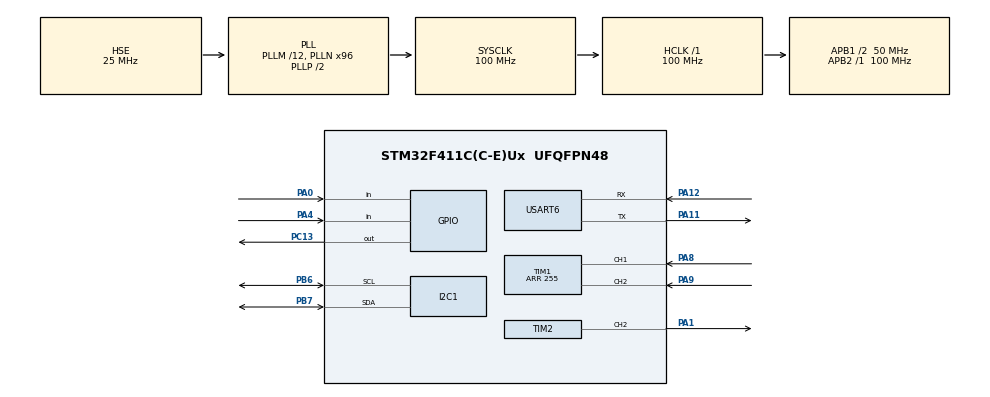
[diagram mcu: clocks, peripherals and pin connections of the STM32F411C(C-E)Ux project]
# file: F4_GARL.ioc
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Dma.Request0=TIM2_CH2/CH4
Dma.TIM2_CH2/CH4.0.Direction=DMA_MEMORY_TO_PERIPH
Dma.TIM2_CH2/CH4.0.FIFOMode=DMA_FIFOMODE_DISABLE
Dma.TIM2_CH2/CH4.0.Instance=DMA1_Stream6
Dma.TIM2_CH2/CH4.0.MemDataAlignment=DMA_MDATAALIGN_WORD
Dma.TIM2_CH2/CH4.0.MemInc=DMA_MINC_ENABLE
Dma.TIM2_CH2/CH4.0.Mode=DMA_CIRCULAR
Dma.TIM2_CH2/CH4.0.PeriphDataAlignment=DMA_PDATAALIGN_WORD
Dma.TIM2_CH2/CH4.0.PeriphInc=DMA_PINC_DISABLE
Dma.TIM2_CH2/CH4.0.Priority=DMA_PRIORITY_LOW
I2C1.I2C_Mode=I2C_Fast
Mcu.Family=STM32F4
Mcu.Name=STM32F411C(C-E)Ux
Mcu.Package=UFQFPN48
NVIC.DMA1_Stream6_IRQn=true\:0\:0\:false\:false\:true\:false\:true
NVIC.I2C1_EV_IRQn=true\:0\:0\:false\:false\:true\:true\:true
NVIC.PriorityGroup=NVIC_PRIORITYGROUP_4
NVIC.USART6_IRQn=true\:0\:0\:false\:false\:true\:true\:true
PA0-WKUP.Signal=GPIO_Input
PA1.Signal=S_TIM2_CH2
PA11.Mode=Asynchronous
PA11.Signal=USART6_TX
PA12.Mode=Asynchronous
PA12.Signal=USART6_RX
PA13.Mode=Serial_Wire
PA13.Signal=SYS_JTMS-SWDIO
PA14.Mode=Serial_Wire
PA14.Signal=SYS_JTCK-SWCLK
PA4.Signal=GPIO_Input
PA8.Signal=S_TIM1_CH1
PA9.Signal=S_TIM1_CH2
PB6.Mode=I2C
PB6.Signal=I2C1_SCL
PB7.Mode=I2C
PB7.Signal=I2C1_SDA
PC13-ANTI_TAMP.Signal=GPIO_Output
PH0\ -\ OSC_IN.Mode=HSE-External-Oscillator
PH0\ -\ OSC_IN.Signal=RCC_OSC_IN
PH1\ -\ OSC_OUT.Mode=HSE-External-Oscillator
PH1\ -\ OSC_OUT.Signal=RCC_OSC_OUT
ProjectManager.HeapSize=0x200
ProjectManager.StackSize=0x400
ProjectManager.TargetToolchain=MDK-ARM V5.27
RCC.48MHZClocksFreq_Value=50000000
RCC.AHBFreq_Value=100000000
RCC.APB1CLKDivider=RCC_HCLK_DIV2
RCC.APB1Freq_Value=50000000
RCC.APB1TimFreq_Value=100000000
RCC.APB2Freq_Value=100000000
RCC.APB2TimFreq_Value=100000000
RCC.CortexFreq_Value=100000000
RCC.HCLKFreq_Value=100000000
RCC.HSE_VALUE=25000000
RCC.HSI_VALUE=16000000
RCC.LSE_VALUE=32768
RCC.PLLM=12
RCC.PLLN=96
RCC.PLLSourceVirtual=RCC_PLLSOURCE_HSE
RCC.SYSCLKFreq_VALUE=100000000
RCC.SYSCLKSource=RCC_SYSCLKSOURCE_PLLCLK
RCC.VCOOutputFreq_Value=200000000
SH.S_TIM1_CH1.0=TIM1_CH1,Encoder_Interface
SH.S_TIM1_CH2.0=TIM1_CH2,Encoder_Interface
SH.S_TIM2_CH2.0=TIM2_CH2,PWM Generation2 CH2
TIM1.EncoderMode=TIM_ENCODERMODE_TI2
TIM1.Period=255
TIM2.Channel-PWM\ Generation2\ CH2=TIM_CHANNEL_2
TIM2.Period=124
USART6.VirtualMode=VM_ASYNC
VP_TIM2_VS_ClockSourceINT.Mode=Internal
board=custom

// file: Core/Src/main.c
/* USER CODE BEGIN Header */
/**
  ******************************************************************************
  * @file           : main.c
  * @brief          : Main program body
  ******************************************************************************
  * @attention
  *
  * <h2><center>&copy; Copyright (c) 2021 STMicroelectronics.
  * All rights reserved.</center></h2>
  *
  * This software component is licensed by ST under BSD 3-Clause license,
  * the "License"; You may not use this file except in compliance with the
  * License. You may obtain a copy of the License at:
  *                        opensource.org/licenses/BSD-3-Clause
  *
  ******************************************************************************
  */
/* USER CODE END Header */
#include "main.h"

/* USER CODE BEGIN Includes */
#include "ws2812.h"
#include "ssd1306.h"
#include "menu.h"
#include "garl.h"
#include "settings.h"
#include "stdio.h"
#include "bluetooth.h"
/* USER CODE END Includes */

I2C_HandleTypeDef hi2c1;

TIM_HandleTypeDef htim1;
TIM_HandleTypeDef htim2;
DMA_HandleTypeDef hdma_tim2_ch2_ch4;

UART_HandleTypeDef huart6;

void SystemClock_Config(void);
static void MX_GPIO_Init(void);
static void MX_DMA_Init(void);
static void MX_TIM2_Init(void);
static void MX_I2C1_Init(void);
static void MX_TIM1_Init(void);
static void MX_USART6_UART_Init(void);

/* USER CODE BEGIN 0 */
extern uint32_t BUF_DMA[];

void HAL_TIM_PWM_PulseFinishedCallback(TIM_HandleTypeDef *htim)
{
	HAL_TIM_PWM_Stop_DMA(&htim2,TIM_CHANNEL_2);
}

//uint8_t uart_buffer[3]={0};
//uint8_t buffer[128] = {0};
//extern uint16_t max_value[PAGE_COUNT][LINE_COUNT];
void HAL_UART_RxCpltCallback(UART_HandleTypeDef *huart)
{
	//if(huart == &huart6)
	//{
	//	if(uart_buffer[0]<PAGE_COUNT && uart_buffer[1]<LINE_COUNT && uart_buffer[2]%2==0 && uart_buffer[2] <= max_value[uart_buffer[0]][uart_buffer[1]])
	//	{
	//		if(Settings.parameters.current_page == uart_buffer[0] && Settings.parameters.current_line == uart_buffer[1])
	//			TIM1->CNT = uart_buffer[2];
	//		Settings.values[uart_buffer[0]][uart_buffer[1]] = uart_buffer[2];
	//
	//		sprintf((char*)buffer,"OK\n");
	//		HAL_UART_Transmit(&huart6,buffer,strlen((char*)buffer),200);
	//	}
	//	else
	//	{
	//		sprintf((char*)buffer,"ERR\n");
	//		HAL_UART_Transmit(&huart6,buffer,strlen((char*)buffer),200);
	//	}
	//	updateMenu();
	//	HAL_UART_Receive_IT(&huart6,uart_buffer,3);
	//}
}

void HAL_UART_ErrorCallback(UART_HandleTypeDef *huart)
{
	//if(huart == &huart6)
	//{
	//	switch(HAL_UART_GetError(huart))
	//	{
	//		case HAL_UART_ERROR_NONE:
	//		{
	//			break;
	//		}
	//		case HAL_UART_ERROR_PE:
	//		{
	//			break;
	//		}
	//		case HAL_UART_ERROR_NE:
	//		{
	//			break;
	//		}
	//		case HAL_UART_ERROR_FE:
	//		{
	//			break;
	//		}
	//		case HAL_UART_ERROR_ORE:
	//		{
	//			break;
	//		}
	//		case HAL_UART_ERROR_DMA:
	//		{
	//			break;
	//		}
	//	}
	//	HAL_UART_Abort(&huart6);
	//	HAL_UART_Receive_IT(&huart6,uart_buffer,3);
	//}
}

uint32_t while_time=0;
uint32_t prev_while_time=0;
uint32_t while_max_time=0;

/* USER CODE END 0 */

int main(void)
{

  /* MCU Configuration--------------------------------------------------------*/

  /* Reset of all peripherals, Initializes the Flash interface and the Systick. */
  HAL_Init();

  /* Configure the system clock */
  SystemClock_Config();

  /* Initialize all configured peripherals */
  MX_GPIO_Init();
  MX_DMA_Init();
  MX_TIM2_Init();
  MX_I2C1_Init();
  MX_TIM1_Init();
  MX_USART6_UART_Init();
	//__HAL_UART_ENABLE_IT(&huart6, UART_IT_IDLE);
  /* USER CODE BEGIN 2 */
	ws2812_init(150);
	ssd1306_Init(hi2c1,0x78);
	menu_init();
	Garl_init();
	bluetooth_Init();
	HAL_TIM_Encoder_Start_IT(&htim1, TIM_CHANNEL_ALL);

	SCB->SHCSR |= SCB_SHCSR_BUSFAULTENA_Msk;
	SCB->SHCSR |= SCB_SHCSR_MEMFAULTENA_Msk;
	SCB->SHCSR |= SCB_SHCSR_USGFAULTENA_Msk;
  /* USER CODE END 2 */

  /* Infinite loop */
  /* USER CODE BEGIN WHILE */
	//HAL_UART_Receive_IT(&huart6,uart_buffer,3);
	__HAL_UART_ENABLE_IT(&huart6,UART_IT_RXNE);
	__HAL_UART_ENABLE_IT(&huart6,UART_IT_ERR);

	//uint16_t test[2] = { 0 };
	//((uint8_t*)test)[0] = 0xFF;
	//((uint8_t*)test)[1] = 0xFF;
	//((uint8_t*)test)[2] = 0xFF;
	//((uint8_t*)test)[3] = 0xFF;

  while (1)
  {
		//while_time = HAL_GetTick() - prev_while_time;
		//if(while_time>while_max_time) while_max_time = while_time;
		//prev_while_time = HAL_GetTick();

		menuHandler();
		Garl_Handler();
		bluetooth_CommandsHandler();
    /* USER CODE END WHILE */

  }
}

void SystemClock_Config(void)
{
  RCC_OscInitTypeDef RCC_OscInitStruct = {0};
  RCC_ClkInitTypeDef RCC_ClkInitStruct = {0};

  /** Configure the main internal regulator output voltage
  */
  __HAL_RCC_PWR_CLK_ENABLE();
  __HAL_PWR_VOLTAGESCALING_CONFIG(PWR_REGULATOR_VOLTAGE_SCALE1);
  /** Initializes the RCC Oscillators according to the specified parameters
  * in the RCC_OscInitTypeDef structure.
  */
  RCC_OscInitStruct.OscillatorType = RCC_OSCILLATORTYPE_HSE;
  RCC_OscInitStruct.HSEState = RCC_HSE_ON;
  RCC_OscInitStruct.PLL.PLLState = RCC_PLL_ON;
  RCC_OscInitStruct.PLL.PLLSource = RCC_PLLSOURCE_HSE;
  RCC_OscInitStruct.PLL.PLLM = 12;
  RCC_OscInitStruct.PLL.PLLN = 96;
  RCC_OscInitStruct.PLL.PLLP = RCC_PLLP_DIV2;
  RCC_OscInitStruct.PLL.PLLQ = 4;
  if (HAL_RCC_OscConfig(&RCC_OscInitStruct) != HAL_OK)
  {
    Error_Handler();
  }
  /** Initializes the CPU, AHB and APB buses clocks
  */
  RCC_ClkInitStruct.ClockType = RCC_CLOCKTYPE_HCLK|RCC_CLOCKTYPE_SYSCLK
                              |RCC_CLOCKTYPE_PCLK1|RCC_CLOCKTYPE_PCLK2;
  RCC_ClkInitStruct.SYSCLKSource = RCC_SYSCLKSOURCE_PLLCLK;
  RCC_ClkInitStruct.AHBCLKDivider = RCC_SYSCLK_DIV1;
  RCC_ClkInitStruct.APB1CLKDivider = RCC_HCLK_DIV2;
  RCC_ClkInitStruct.APB2CLKDivider = RCC_HCLK_DIV1;

  if (HAL_RCC_ClockConfig(&RCC_ClkInitStruct, FLASH_LATENCY_3) != HAL_OK)
  {
    Error_Handler();
  }
}

static void MX_I2C1_Init(void)
{

  hi2c1.Instance = I2C1;
  hi2c1.Init.ClockSpeed = 400000;
  hi2c1.Init.DutyCycle = I2C_DUTYCYCLE_2;
  hi2c1.Init.OwnAddress1 = 0;
  hi2c1.Init.AddressingMode = I2C_ADDRESSINGMODE_7BIT;
  hi2c1.Init.DualAddressMode = I2C_DUALADDRESS_DISABLE;
  hi2c1.Init.OwnAddress2 = 0;
  hi2c1.Init.GeneralCallMode = I2C_GENERALCALL_DISABLE;
  hi2c1.Init.NoStretchMode = I2C_NOSTRETCH_DISABLE;
  if (HAL_I2C_Init(&hi2c1) != HAL_OK)
  {
    Error_Handler();
  }

}

static void MX_TIM1_Init(void)
{

  TIM_Encoder_InitTypeDef sConfig = {0};
  TIM_MasterConfigTypeDef sMasterConfig = {0};

  htim1.Instance = TIM1;
  htim1.Init.Prescaler = 0;
  htim1.Init.CounterMode = TIM_COUNTERMODE_UP;
  htim1.Init.Period = 255;
  htim1.Init.ClockDivision = TIM_CLOCKDIVISION_DIV1;
  htim1.Init.RepetitionCounter = 0;
  htim1.Init.AutoReloadPreload = TIM_AUTORELOAD_PRELOAD_DISABLE;
  sConfig.EncoderMode = TIM_ENCODERMODE_TI2;
  sConfig.IC1Polarity = TIM_ICPOLARITY_RISING;
  sConfig.IC1Selection = TIM_ICSELECTION_DIRECTTI;
  sConfig.IC1Prescaler = TIM_ICPSC_DIV1;
  sConfig.IC1Filter = 0;
  sConfig.IC2Polarity = TIM_ICPOLARITY_RISING;
  sConfig.IC2Selection = TIM_ICSELECTION_DIRECTTI;
  sConfig.IC2Prescaler = TIM_ICPSC_DIV1;
  sConfig.IC2Filter = 0;
  if (HAL_TIM_Encoder_Init(&htim1, &sConfig) != HAL_OK)
  {
    Error_Handler();
  }
  sMasterConfig.MasterOutputTrigger = TIM_TRGO_RESET;
  sMasterConfig.MasterSlaveMode = TIM_MASTERSLAVEMODE_DISABLE;
  if (HAL_TIMEx_MasterConfigSynchronization(&htim1, &sMasterConfig) != HAL_OK)
  {
    Error_Handler();
  }

}

static void MX_TIM2_Init(void)
{

  TIM_ClockConfigTypeDef sClockSourceConfig = {0};
  TIM_MasterConfigTypeDef sMasterConfig = {0};
  TIM_OC_InitTypeDef sConfigOC = {0};

  htim2.Instance = TIM2;
  htim2.Init.Prescaler = 0;
  htim2.Init.CounterMode = TIM_COUNTERMODE_UP;
  htim2.Init.Period = 124;
  htim2.Init.ClockDivision = TIM_CLOCKDIVISION_DIV1;
  htim2.Init.AutoReloadPreload = TIM_AUTORELOAD_PRELOAD_DISABLE;
  if (HAL_TIM_Base_Init(&htim2) != HAL_OK)
  {
    Error_Handler();
  }
  sClockSourceConfig.ClockSource = TIM_CLOCKSOURCE_INTERNAL;
  if (HAL_TIM_ConfigClockSource(&htim2, &sClockSourceConfig) != HAL_OK)
  {
    Error_Handler();
  }
  if (HAL_TIM_PWM_Init(&htim2) != HAL_OK)
  {
    Error_Handler();
  }
  sMasterConfig.MasterOutputTrigger = TIM_TRGO_RESET;
  sMasterConfig.MasterSlaveMode = TIM_MASTERSLAVEMODE_DISABLE;
  if (HAL_TIMEx_MasterConfigSynchronization(&htim2, &sMasterConfig) != HAL_OK)
  {
    Error_Handler();
  }
  sConfigOC.OCMode = TIM_OCMODE_PWM1;
  sConfigOC.Pulse = 0;
  sConfigOC.OCPolarity = TIM_OCPOLARITY_HIGH;
  sConfigOC.OCFastMode = TIM_OCFAST_DISABLE;
  if (HAL_TIM_PWM_ConfigChannel(&htim2, &sConfigOC, TIM_CHANNEL_2) != HAL_OK)
  {
    Error_Handler();
  }
  HAL_TIM_MspPostInit(&htim2);

}

static void MX_USART6_UART_Init(void)
{

  huart6.Instance = USART6;
  huart6.Init.BaudRate = 115200;
  huart6.Init.WordLength = UART_WORDLENGTH_8B;
  huart6.Init.StopBits = UART_STOPBITS_1;
  huart6.Init.Parity = UART_PARITY_NONE;
  huart6.Init.Mode = UART_MODE_TX_RX;
  huart6.Init.HwFlowCtl = UART_HWCONTROL_NONE;
  huart6.Init.OverSampling = UART_OVERSAMPLING_16;
  if (HAL_UART_Init(&huart6) != HAL_OK)
  {
    Error_Handler();
  }

}

static void MX_DMA_Init(void)
{

  /* DMA controller clock enable */
  __HAL_RCC_DMA1_CLK_ENABLE();

  /* DMA interrupt init */
  /* DMA1_Stream6_IRQn interrupt configuration */
  HAL_NVIC_SetPriority(DMA1_Stream6_IRQn, 0, 0);
  HAL_NVIC_EnableIRQ(DMA1_Stream6_IRQn);

}

static void MX_GPIO_Init(void)
{
  GPIO_InitTypeDef GPIO_InitStruct = {0};

  /* GPIO Ports Clock Enable */
  __HAL_RCC_GPIOC_CLK_ENABLE();
  __HAL_RCC_GPIOH_CLK_ENABLE();
  __HAL_RCC_GPIOA_CLK_ENABLE();
  __HAL_RCC_GPIOB_CLK_ENABLE();

  /*Configure GPIO pin Output Level */
  HAL_GPIO_WritePin(GPIOC, GPIO_PIN_13, GPIO_PIN_RESET);

  /*Configure GPIO pin : PC13 */
  GPIO_InitStruct.Pin = GPIO_PIN_13;
  GPIO_InitStruct.Mode = GPIO_MODE_OUTPUT_PP;
  GPIO_InitStruct.Pull = GPIO_NOPULL;
  GPIO_InitStruct.Speed = GPIO_SPEED_FREQ_LOW;
  HAL_GPIO_Init(GPIOC, &GPIO_InitStruct);

  /*Configure GPIO pins : PA0 PA4 */
  GPIO_InitStruct.Pin = GPIO_PIN_0|GPIO_PIN_4;
  GPIO_InitStruct.Mode = GPIO_MODE_INPUT;
  GPIO_InitStruct.Pull = GPIO_NOPULL;
  HAL_GPIO_Init(GPIOA, &GPIO_InitStruct);

}

void Error_Handler(void)
{
  __disable_irq();
  while (1)
  {
  }
}

/************************ (C) COPYRIGHT STMicroelectronics *****END OF FILE****/
